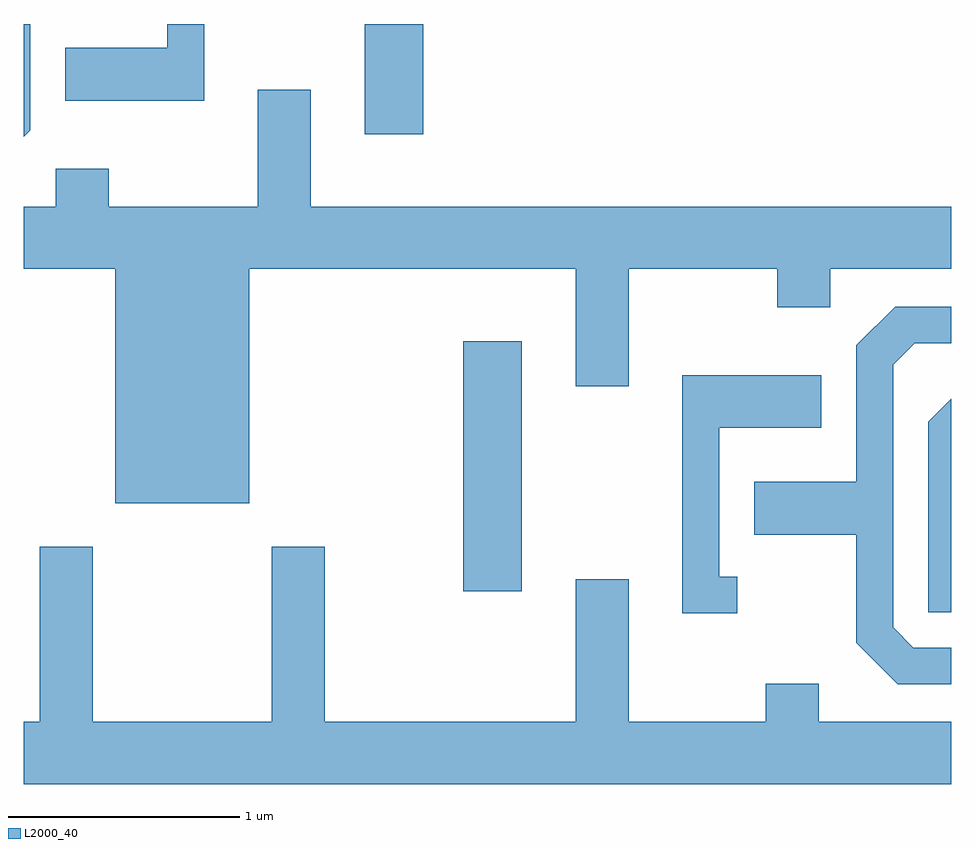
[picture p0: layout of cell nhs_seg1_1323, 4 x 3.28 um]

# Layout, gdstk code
import gdstk
lib = gdstk.Library(unit=1e-6, precision=1e-09)
def R(c, l, rs):  # rectangles x0, y0, x1, y1
    for r in rs: c.add(gdstk.rectangle(r[:2], r[2:], *l))
def P(c, l, *ps):  # polygons
    for p in ps: c.add(gdstk.Polygon(p, *l))
L2000_40 = (2000, 40)

nhs_seg1_1323 = lib.new_cell('nhs_seg1_1323')
R(nhs_seg1_1323, L2000_40, [(227.506,929.266,227.759,930.344), (227.081,931.236,227.334,931.712)])
P(nhs_seg1_1323, L2000_40, [(225.639,931.254),(225.639,931.712),(225.611,931.712),(225.611,931.226)],
  [(226.389,931.712),(226.231,931.712),(226.231,931.609),(225.791,931.609),(225.791,931.381),(226.389,931.381)],
  [(226.584,930.656),(227.991,930.656),(227.991,930.151),(228.219,930.151),(228.219,930.656),(228.861,930.656),(228.861,930.491),(229.089,930.491),(229.089,930.656),(229.611,930.656),(229.611,930.924),(226.849,930.924),(226.849,931.429),(226.621,931.429),(226.621,930.924),(225.979,930.924),(225.979,931.089),(225.751,931.089),(225.751,930.924),(225.611,930.924),(225.611,930.656),(226.006,930.656),(226.006,929.646),(226.584,929.646)],
  [(229.611,929.024),(229.447,929.024),(229.359,929.112),(229.359,930.244),(229.452,930.336),(229.611,930.336),(229.611,930.494),(229.369,930.494),(229.201,930.327),(229.201,929.739),(228.761,929.739),(228.761,929.511),(229.201,929.511),(229.201,929.044),(229.379,928.866),(229.611,928.866)],
  [(228.688,929.329),(228.609,929.329),(228.609,929.971),(229.049,929.971),(229.049,930.199),(228.451,930.199),(228.451,929.171),(228.688,929.171)],
  [(229.611,930.096),(229.511,929.997),(229.511,929.176),(229.611,929.176)],
  [(229.611,928.704),(229.039,928.704),(229.039,928.869),(228.811,928.869),(228.811,928.704),(228.219,928.704),(228.219,929.319),(227.991,929.319),(227.991,928.704),(226.909,928.704),(226.909,929.459),(226.681,929.459),(226.681,928.704),(225.909,928.704),(225.909,929.459),(225.681,929.459),(225.681,928.704),(225.611,928.704),(225.611,928.436),(229.611,928.436)])

lib.write_gds('nhs_seg1_1323.gds')
